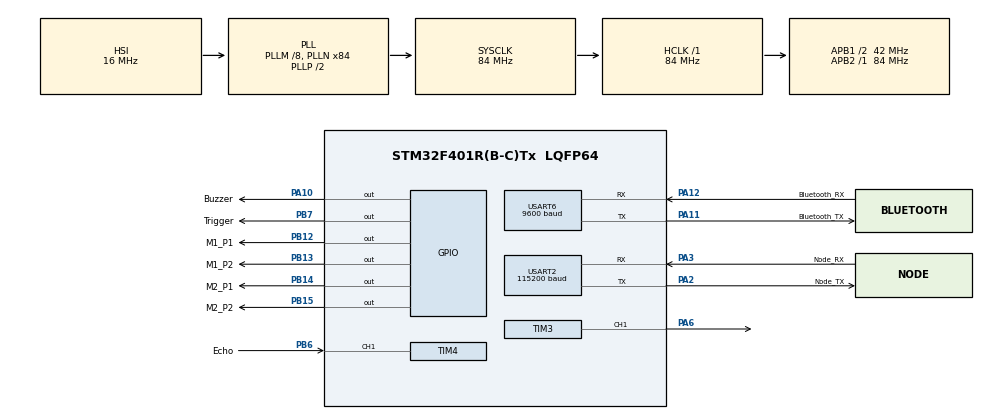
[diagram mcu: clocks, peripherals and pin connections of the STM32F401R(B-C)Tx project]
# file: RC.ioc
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Mcu.Family=STM32F4
Mcu.Name=STM32F401R(B-C)Tx
Mcu.Package=LQFP64
NVIC.PriorityGroup=NVIC_PRIORITYGROUP_4
NVIC.TIM4_IRQn=true\:0\:0\:false\:false\:true\:true\:true
PA10.GPIO_Label=Buzzer
PA10.Signal=GPIO_Output
PA11.GPIO_Label=Bluetooth_TX
PA11.Mode=Asynchronous
PA11.Signal=USART6_TX
PA12.GPIO_Label=Bluetooth_RX
PA12.Mode=Asynchronous
PA12.Signal=USART6_RX
PA2.GPIO_Label=Node_TX
PA2.Mode=Asynchronous
PA2.Signal=USART2_TX
PA3.GPIO_Label=Node_RX
PA3.Mode=Asynchronous
PA3.Signal=USART2_RX
PA6.Signal=S_TIM3_CH1
PB12.GPIO_Label=M1_P1
PB12.Signal=GPIO_Output
PB13.GPIO_Label=M1_P2
PB13.Signal=GPIO_Output
PB14.GPIO_Label=M2_P1
PB14.Signal=GPIO_Output
PB15.GPIO_Label=M2_P2
PB15.Signal=GPIO_Output
PB6.GPIO_Label=Echo
PB6.Signal=S_TIM4_CH1
PB7.GPIO_Label=Trigger
PB7.Signal=GPIO_Output
ProjectManager.HeapSize=0x200
ProjectManager.StackSize=0x400
ProjectManager.TargetToolchain=MDK-ARM V5.32
RCC.48MHZClocksFreq_Value=42000000
RCC.AHBFreq_Value=84000000
RCC.APB1CLKDivider=RCC_HCLK_DIV2
RCC.APB1Freq_Value=42000000
RCC.APB1TimFreq_Value=84000000
RCC.APB2Freq_Value=84000000
RCC.APB2TimFreq_Value=84000000
RCC.CortexFreq_Value=84000000
RCC.HCLKFreq_Value=84000000
RCC.HSE_VALUE=25000000
RCC.HSI_VALUE=16000000
RCC.LSE_VALUE=32768
RCC.PLLM=8
RCC.PLLN=84
RCC.SYSCLKFreq_VALUE=84000000
RCC.SYSCLKSource=RCC_SYSCLKSOURCE_PLLCLK
RCC.VCOOutputFreq_Value=168000000
SH.S_TIM3_CH1.0=TIM3_CH1,PWM Generation1 CH1
SH.S_TIM4_CH1.0=TIM4_CH1,Input_Capture1_from_TI1
TIM3.Channel-PWM\ Generation1\ CH1=TIM_CHANNEL_1
TIM4.Channel-Input_Capture1_from_TI1=TIM_CHANNEL_1
TIM4.Prescaler=83
USART2.BaudRate=115200
USART2.VirtualMode=VM_ASYNC
USART6.BaudRate=9600
USART6.VirtualMode=VM_ASYNC
board=custom

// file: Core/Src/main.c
/* USER CODE BEGIN Header */
/**
  ******************************************************************************
  * @file           : main.c
  * @brief          : Main program body
  ******************************************************************************
  * @attention
  *
  * <h2><center>&copy; Copyright (c) 2024 STMicroelectronics.
  * All rights reserved.</center></h2>
  *
  * This software component is licensed by ST under BSD 3-Clause license,
  * the "License"; You may not use this file except in compliance with the
  * License. You may obtain a copy of the License at:
  *                        opensource.org/licenses/BSD-3-Clause
  *
  ******************************************************************************
  */
/* USER CODE END Header */
#include "main.h"
#include "tim.h"
#include "usart.h"
#include "gpio.h"

/* USER CODE BEGIN Includes */
#include "dcmotor.h"
#include "ultrasonic_lcfg.h"
#include "MEM_Handler.h"
/* USER CODE END Includes */

/* USER CODE BEGIN PV */
volatile uint8_t ultrasonic_reading_finished_flag = 0;
static volatile uint8_t is_firt_captured = 0;
static volatile uint32_t IC_Val1 = 0;
static volatile uint32_t IC_Val2 = 0;
static volatile uint32_t IC_Difference = 0;
uint8_t Jump_Flag_Packet[2] = {0};
uint16_t distance = 0;
uint8_t Report[200] = {0};
/* USER CODE END PV */

void SystemClock_Config(void);
/* USER CODE BEGIN PFP */
void adjust_PWM_dutyCycle(TIM_HandleTypeDef* pwmHandle, uint32_t pwmChannel, float dutyCycle)
{

    // Calculate the new pulse width based on the duty cycle percentage
    uint32_t maxCCR = pwmHandle->Instance->ARR;
    uint32_t newCCR = (uint32_t)((dutyCycle / 100.0f) * maxCCR);

    // Update the CCR value for the specified channel
    __HAL_TIM_SET_COMPARE(pwmHandle, pwmChannel, newCCR);
}

void HAL_TIM_IC_CaptureCallback(TIM_HandleTypeDef *htim)
{
	/* Capture rising edge */
	if(0 == is_firt_captured)
	{
		IC_Val1 = HAL_TIM_ReadCapturedValue(htim, TIM_CHANNEL_1);
		is_firt_captured = 1;
		__HAL_TIM_SET_CAPTUREPOLARITY(htim, TIM_CHANNEL_1, TIM_INPUTCHANNELPOLARITY_FALLING);
		ultrasonic_reading_finished_flag = 0;
	}
	/* Capture falling edge */
	else if(1 == is_firt_captured)
	{
		IC_Val2 = HAL_TIM_ReadCapturedValue(htim, TIM_CHANNEL_1);
		__HAL_TIM_SET_COUNTER(htim, 0);

		if(IC_Val2 > IC_Val1)
		{
			IC_Difference = IC_Val2 - IC_Val1;
		}
		else if(IC_Val1 > IC_Val2)
		{
			IC_Difference = (0xFFFF - IC_Val1) + IC_Val2;
		}

		distance = IC_Difference * 0.017;

		is_firt_captured = 0;
		__HAL_TIM_SET_CAPTUREPOLARITY(htim, TIM_CHANNEL_1, TIM_INPUTCHANNELPOLARITY_RISING);
		__HAL_TIM_DISABLE_IT(&htim4, TIM_IT_CC1);
		ultrasonic_reading_finished_flag = 1;
	}
	else{ /* Nothing */ }
}

// UART receive complete callback
void HAL_UART_RxCpltCallback(UART_HandleTypeDef *huart) {
  if (huart->Instance == USART2) {
    // Handle the received data
			Jump_Flag_Packet[0] = 0x01;
  		HAL_UART_Transmit(&huart2,(uint8_t*)&Jump_Flag_Packet,1,HAL_MAX_DELAY);
    // Perform the jump to a specific address
    void (*jump_to_address)(void) = (void (*)(void)) 0x08000000; // Replace with your specific address
    jump_to_address();

    // Restart UART reception in interrupt mode
    HAL_UART_Receive_IT(&huart2, (uint8_t*)&Jump_Flag_Packet, 2);
  }
}
/* USER CODE END PFP */

int main(void)
{
  /* USER CODE BEGIN 1 */
	uint8_t bt_value = 0;
	uint8_t last_bt_value = 0;
  /* USER CODE END 1 */

  /* MCU Configuration--------------------------------------------------------*/

  /* Reset of all peripherals, Initializes the Flash interface and the Systick. */
  HAL_Init();

  /* Configure the system clock */
  SystemClock_Config();

  /* Initialize all configured peripherals */
  MX_GPIO_Init();
  MX_TIM3_Init();
  MX_TIM4_Init();
  MX_USART2_UART_Init();
  MX_USART6_UART_Init();
  /* USER CODE BEGIN 2 */
  /* USER CODE BEGIN 2 */
  HAL_TIM_PWM_Start(&htim3, TIM_CHANNEL_1);
  adjust_PWM_dutyCycle(&htim3, TIM_CHANNEL_1, 50);
  HAL_TIM_IC_Start_IT(&htim4, TIM_CHANNEL_1);
  /* USER CODE END 2 */

  /* Infinite loop */
  /* USER CODE BEGIN WHILE */
	HAL_UART_Receive_IT(&huart2, (uint8_t*)&Jump_Flag_Packet, 2);
  while (1)
  {
//		HAL_UART_Receive(&huart2,(uint8_t*)&packet,2,HAL_MAX_DELAY);
//		HAL_GPIO_WritePin(Buzzer_GPIO_Port,Buzzer_Pin,GPIO_PIN_SET);
//		if( 0xFF == packet[1]){
//		packet[0] = 0x01;
//		HAL_UART_Transmit(&huart2,(uint8_t*)&packet,1,HAL_MAX_DELAY);
//
//		User_APP_Jump_Bootloader();
//		}

		// making sure ultrasonic has finished reading
		if(ultrasonic_reading_finished_flag)
	  {
		  Ultrasonic_Get_Distance(&ultrasonic);
		 // HAL_GPIO_TogglePin(GPIOC, GPIO_PIN_13);
	  }
	  else{/* Nothing */}
		// recieve character from bluetooth
	  HAL_UART_Receive(&huart6, (uint8_t*)&bt_value, 1, 20);

	  if(bt_value){ last_bt_value = bt_value; }
	  else{ bt_value = last_bt_value; }

		if('F' == bt_value){
			if(distance <= 20){
				Car_Stop();
				HAL_GPIO_WritePin(Buzzer_GPIO_Port, Buzzer_Pin, GPIO_PIN_SET);
			}
			else{
			HAL_GPIO_WritePin(Buzzer_GPIO_Port, Buzzer_Pin, GPIO_PIN_RESET);
			Car_Move_Forward();
			}
		}else if('B' == bt_value){
		  Car_Move_Backward();
		}else if('R' == bt_value){
		  Car_Move_Right();
		}else if('L' == bt_value){
		  Car_Move_Left();
		}else if('S' == bt_value){
		  Car_Stop();
		}else if('M'== bt_value){
		/// something
			HAL_UART_Receive(&huart6,(uint8_t*)&Report,200,HAL_MAX_DELAY);
			if(0 != Report[0]){HAL_UART_Transmit(&huart2,(uint8_t*)&Report,200,HAL_MAX_DELAY);}
		}

//		switch(bt_value){
//			case 'F':
//				Car_Move_Forward();
//			break;
//
//			default:
//				Car_Stop();
//			 break;
//		}

    /* USER CODE END WHILE */

  }
}

void SystemClock_Config(void)
{
  RCC_OscInitTypeDef RCC_OscInitStruct = {0};
  RCC_ClkInitTypeDef RCC_ClkInitStruct = {0};

  /** Configure the main internal regulator output voltage
  */
  __HAL_RCC_PWR_CLK_ENABLE();
  __HAL_PWR_VOLTAGESCALING_CONFIG(PWR_REGULATOR_VOLTAGE_SCALE2);
  /** Initializes the RCC Oscillators according to the specified parameters
  * in the RCC_OscInitTypeDef structure.
  */
  RCC_OscInitStruct.OscillatorType = RCC_OSCILLATORTYPE_HSI;
  RCC_OscInitStruct.HSIState = RCC_HSI_ON;
  RCC_OscInitStruct.HSICalibrationValue = RCC_HSICALIBRATION_DEFAULT;
  RCC_OscInitStruct.PLL.PLLState = RCC_PLL_ON;
  RCC_OscInitStruct.PLL.PLLSource = RCC_PLLSOURCE_HSI;
  RCC_OscInitStruct.PLL.PLLM = 8;
  RCC_OscInitStruct.PLL.PLLN = 84;
  RCC_OscInitStruct.PLL.PLLP = RCC_PLLP_DIV2;
  RCC_OscInitStruct.PLL.PLLQ = 4;
  if (HAL_RCC_OscConfig(&RCC_OscInitStruct) != HAL_OK)
  {
    Error_Handler();
  }
  /** Initializes the CPU, AHB and APB buses clocks
  */
  RCC_ClkInitStruct.ClockType = RCC_CLOCKTYPE_HCLK|RCC_CLOCKTYPE_SYSCLK
                              |RCC_CLOCKTYPE_PCLK1|RCC_CLOCKTYPE_PCLK2;
  RCC_ClkInitStruct.SYSCLKSource = RCC_SYSCLKSOURCE_PLLCLK;
  RCC_ClkInitStruct.AHBCLKDivider = RCC_SYSCLK_DIV1;
  RCC_ClkInitStruct.APB1CLKDivider = RCC_HCLK_DIV2;
  RCC_ClkInitStruct.APB2CLKDivider = RCC_HCLK_DIV1;

  if (HAL_RCC_ClockConfig(&RCC_ClkInitStruct, FLASH_LATENCY_2) != HAL_OK)
  {
    Error_Handler();
  }
}

void Error_Handler(void)
{
  __disable_irq();
  while (1)
  {
  }
}

/************************ (C) COPYRIGHT STMicroelectronics *****END OF FILE****/
